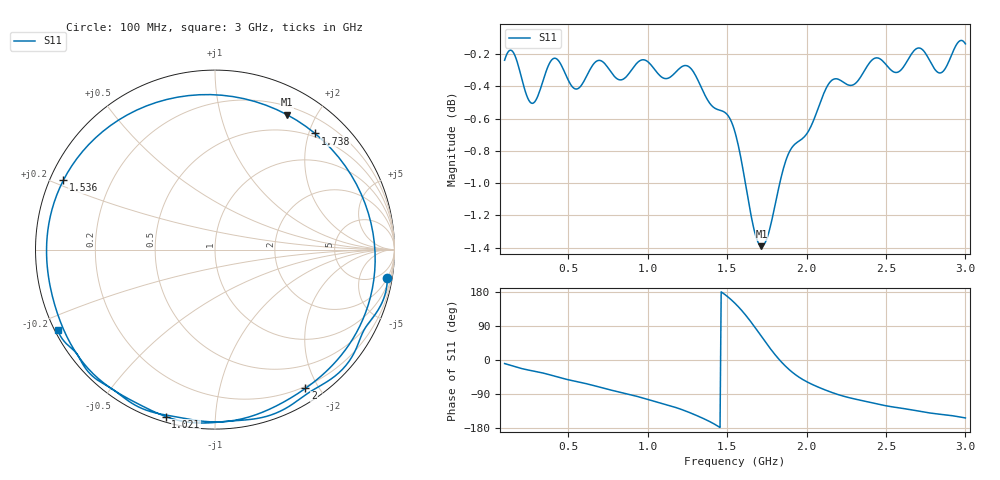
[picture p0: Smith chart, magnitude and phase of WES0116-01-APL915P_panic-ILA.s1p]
! openEMS-z2labs kicad_sim, WES0116-01-APL915P_panic-ILA.kicad_pcb
! ports: 1=SMA6 (F.Cu over B.Cu)
! stackup: file
! copper: sheet, mask: False
# Hz S RI R 50
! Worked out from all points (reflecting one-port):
!   401 points, 100 MHz to 3 GHz, reference 50 ohm
!   lowest |S11| = -1.4 dB at 1.717 GHz (marker M1), VSWR 12.52, Z = 14.8 + j81.2 ohm
!   phase of S11 starts at -9 deg and turns -504 deg over the sweep
!   S11 on the Smith chart (normalised r, x): 100 MHz: 2, -12; 1.021 GHz: 0.02, -0.75; 1.536 GHz: 0.04, +0.22; 1.738 GHz: 0.44, +2.11; 2 GHz: 0.18, -1.83; 3 GHz: 0.01, -0.24
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1e8  0.9598 -0.159
1.9425e8  0.9005 -0.3494
3.61e8  0.7762 -0.5736
4.625e8  0.645 -0.7221
6.8725e8  0.326 -0.9164
8.25e8  0.087 -0.9554
1.02075e9  -0.2742 -0.9302
1.1875e9  -0.5781 -0.7737
1.28175e9  -0.7587 -0.5979
1.38325e9  -0.8927 -0.309
1.47025e9  -0.9375 0.0378
1.5355e9  -0.8449 0.3863
1.55e9  -0.7971 0.4678
1.5935e9  -0.5823 0.6912
1.64425e9  -0.2095 0.8491
1.6805e9  0.1001 0.8525
1.71675e9  0.3998 0.7524
1.7385e9  0.5573 0.6471
1.782e9  0.7885 0.3633
1.81825e9  0.8802 0.0926
1.86175e9  0.877 -0.2156
1.9125e9  0.7674 -0.4979
1.9995e9  0.5041 -0.773
2.13e9  0.1485 -0.9433
2.275e9  -0.1676 -0.9408
2.47075e9  -0.4627 -0.8562
2.6375e9  -0.6239 -0.7467
3e9  -0.8765 -0.448
